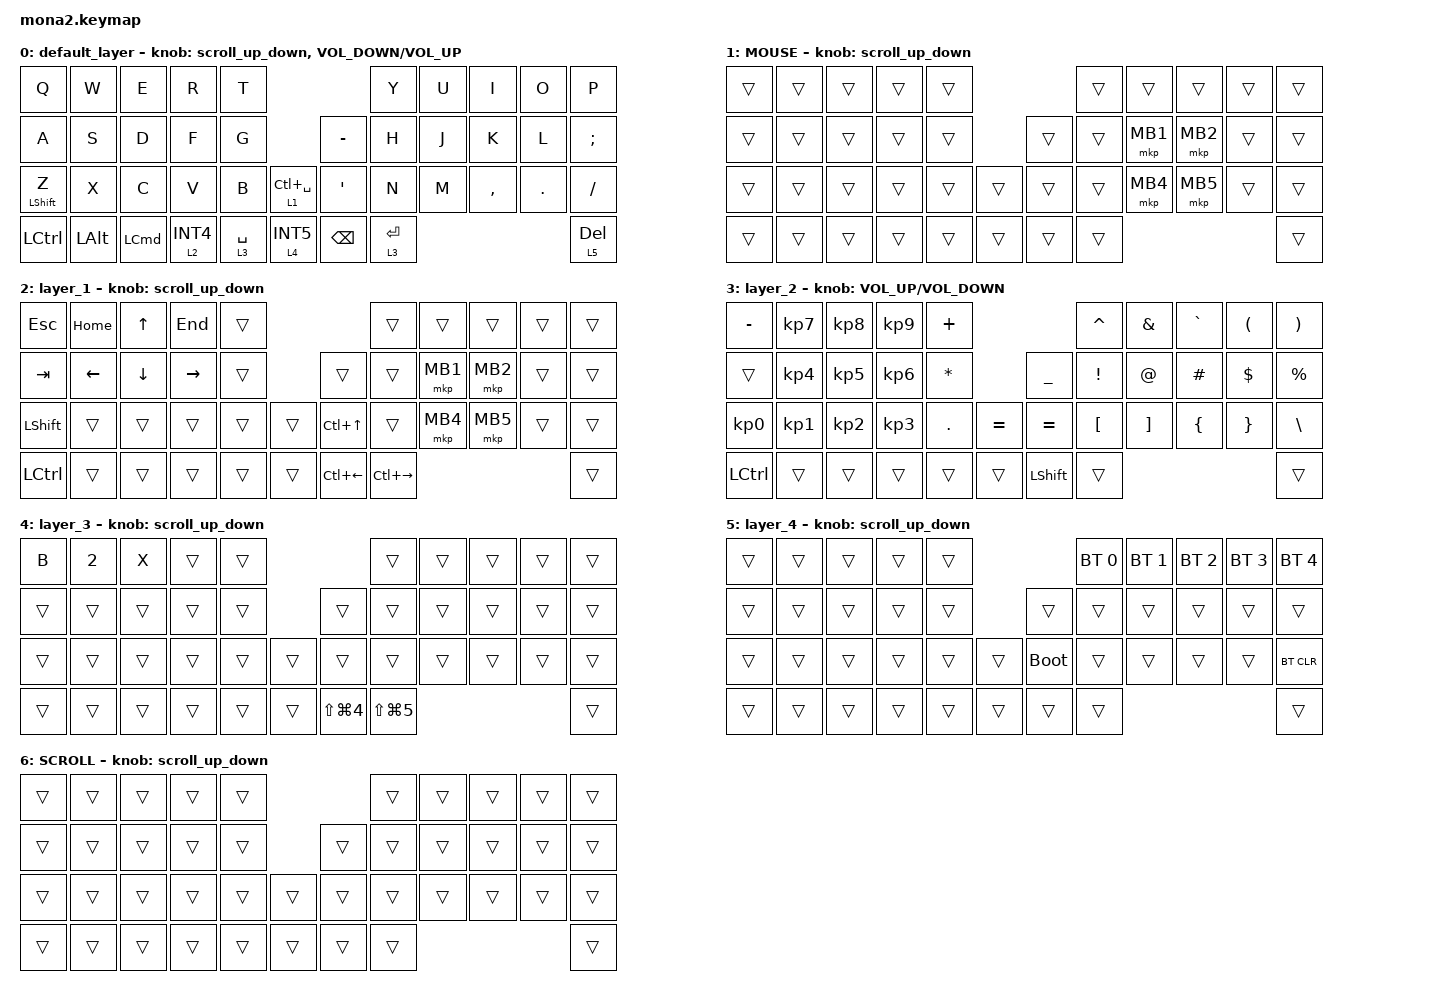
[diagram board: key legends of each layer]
#include <input/processors.dtsi>
#include <dt-bindings/zmk/input_transform.h>
#include <zephyr/dt-bindings/input/input-event-codes.h>
#include <behaviors.dtsi>
#include <dt-bindings/zmk/bt.h>
#include <dt-bindings/zmk/keys.h>

#define ZMK_POINTING_DEFAULT_SCRL_VAL 100

#include <dt-bindings/zmk/pointing.h>
#define MOUSE 5
#define SCROLL 6

&mt {
    flavor = "balanced";
    quick-tap-ms = <0>;
};

&lt {
    quick-tap-ms = <300>;
    flavor = "balanced";
};

/ {
    combos {
        compatible = "zmk,combos";

        layer4_ESC {
            bindings = <&lt 5 ESC>;
            key-positions = <39 38>;
        };

        tab {
            bindings = <&kp TAB>;
            key-positions = <11 12>;
        };
    };

    macros {
        to_layer_0: to_layer_0 {
            compatible = "zmk,behavior-macro-one-param";
            #binding-cells = <1>;
            bindings = <&to 0 &macro_param_1to1 &kp MACRO_PLACEHOLDER>;
            label = "TO_LAYER_0";
        };

    };

    behaviors {
        lt_to_layer_0: lt_to_layer_0 {
            compatible = "zmk,behavior-hold-tap";
            label = "LAYER_TAP_TO_0";
            bindings = <&mo>, <&to_layer_0>;

            #binding-cells = <2>;
            tapping-term-ms = <200>;
        };

        scroll_up_down: mouse_wheel_up_down {
            compatible = "zmk,behavior-sensor-rotate";
            #sensor-binding-cells = <0>;
            bindings = <&msc SCRL_DOWN>, <&msc SCRL_UP>;
            tap-ms = <20>;
        };

        scroll_right_left: mouse_wheel_right_left {
            compatible = "zmk,behavior-sensor-rotate";
            #sensor-binding-cells = <0>;
            bindings = <&msc SCRL_RIGHT>, <&msc SCRL_LEFT>;
            tap-ms = <20>;
        };
    };

    keymap {
        compatible = "zmk,keymap";

        default_layer {
            bindings = <
&kp Q             &kp W         &kp E             &kp R       &kp T                                          &kp Y        &kp U  &kp I      &kp O    &kp P
&kp A             &kp S         &kp D             &kp F       &kp G                           &kp MINUS      &kp H        &kp J  &kp K      &kp L    &kp SEMICOLON
&mt LEFT_SHIFT Z  &kp X         &kp C             &kp V       &kp B        &lt 1 LC(SPACE)    &kp SQT        &kp N        &kp M  &kp COMMA  &kp DOT  &kp SLASH
&kp LCTRL         &kp LEFT_ALT  &kp LEFT_COMMAND  &lt 2 INT4  &lt 3 SPACE  &lt 4 INT5         &kp BACKSPACE  &lt 3 ENTER                             &lt 5 DEL
            >;

            sensor-bindings =
                <&scroll_up_down>,
                <&inc_dec_kp C_VOLUME_DOWN C_VOLUME_UP>;
        };

        MOUSE {
            bindings = <
&trans  &trans  &trans  &trans  &trans                    &trans  &trans    &trans    &trans  &trans
&trans  &trans  &trans  &trans  &trans            &trans  &trans  &mkp MB1  &mkp MB2  &trans  &trans
&trans  &trans  &trans  &trans  &trans  &trans    &trans  &trans  &mkp MB4  &mkp MB5  &trans  &trans
&trans  &trans  &trans  &trans  &trans  &trans    &trans  &trans                              &trans
            >;

            sensor-bindings = <&scroll_up_down>;
        };

        layer_1 {
            bindings = <
&kp ESCAPE        &kp HOME        &kp UP_ARROW    &kp END          &trans                                &trans               &trans    &trans    &trans  &trans
&kp TAB           &kp LEFT_ARROW  &kp DOWN_ARROW  &kp RIGHT_ARROW  &trans            &trans              &trans               &mkp MB1  &mkp MB2  &trans  &trans
&kp LEFT_SHIFT    &trans          &trans          &trans           &trans  &trans    &kp LC(UP_ARROW)    &trans               &mkp MB4  &mkp MB5  &trans  &trans
&kp LEFT_CONTROL  &trans          &trans          &trans           &trans  &trans    &kp LC(LEFT_ARROW)  &kp LC(RIGHT_ARROW)                              &trans
            >;

            sensor-bindings = <&scroll_up_down>;
        };

        layer_2 {
            bindings = <
&kp MINUS         &kp KP_N7  &kp KP_N8  &kp KP_NUMBER_9  &kp PLUS                                   &kp CARET         &kp AMPERSAND      &kp GRAVE       &kp LEFT_PARENTHESIS  &kp RIGHT_PARENTHESIS
&trans            &kp KP_N4  &kp KP_N5  &kp KP_N6        &kp ASTERISK               &kp UNDER       &kp EXCLAMATION   &kp AT_SIGN        &kp HASH        &kp DOLLAR            &kp PERCENT
&kp KP_N0         &kp KP_N1  &kp KP_N2  &kp KP_N3        &kp PERIOD    &kp EQUAL    &kp EQUAL       &kp LEFT_BRACKET  &kp RIGHT_BRACKET  &kp LEFT_BRACE  &kp RIGHT_BRACE       &kp BACKSLASH
&kp LEFT_CONTROL  &trans     &trans     &trans           &trans        &trans       &kp LEFT_SHIFT  &trans                                                                     &trans
            >;

            sensor-bindings = <&inc_dec_kp C_VOLUME_UP C_VOLUME_DOWN>;
        };

        layer_3 {
            bindings = <
&kp B   &kp NUMBER_2  &kp X   &trans  &trans                                  &trans          &trans  &trans  &trans  &trans
&trans  &trans        &trans  &trans  &trans            &trans                &trans          &trans  &trans  &trans  &trans
&trans  &trans        &trans  &trans  &trans  &trans    &trans                &trans          &trans  &trans  &trans  &trans
&trans  &trans        &trans  &trans  &trans  &trans    &kp LS(LG(NUMBER_4))  &kp LS(LG(N5))                          &trans
            >;

            sensor-bindings = <&scroll_up_down>;
        };

        layer_4 {
            bindings = <
&trans  &trans  &trans  &trans  &trans                         &bt BT_SEL 0  &bt BT_SEL 1  &bt BT_SEL 2  &bt BT_SEL 3  &bt BT_SEL 4
&trans  &trans  &trans  &trans  &trans            &trans       &trans        &trans        &trans        &trans        &trans
&trans  &trans  &trans  &trans  &trans  &trans    &bootloader  &trans        &trans        &trans        &trans        &bt BT_CLR
&trans  &trans  &trans  &trans  &trans  &trans    &trans       &trans                                                  &trans
            >;

            sensor-bindings = <&scroll_up_down>;
        };

        SCROLL {
            bindings = <
&trans  &trans  &trans  &trans  &trans                    &trans  &trans  &trans  &trans  &trans
&trans  &trans  &trans  &trans  &trans            &trans  &trans  &trans  &trans  &trans  &trans
&trans  &trans  &trans  &trans  &trans  &trans    &trans  &trans  &trans  &trans  &trans  &trans
&trans  &trans  &trans  &trans  &trans  &trans    &trans  &trans                          &trans
            >;

            sensor-bindings = <&scroll_up_down>;
        };
    };
};
